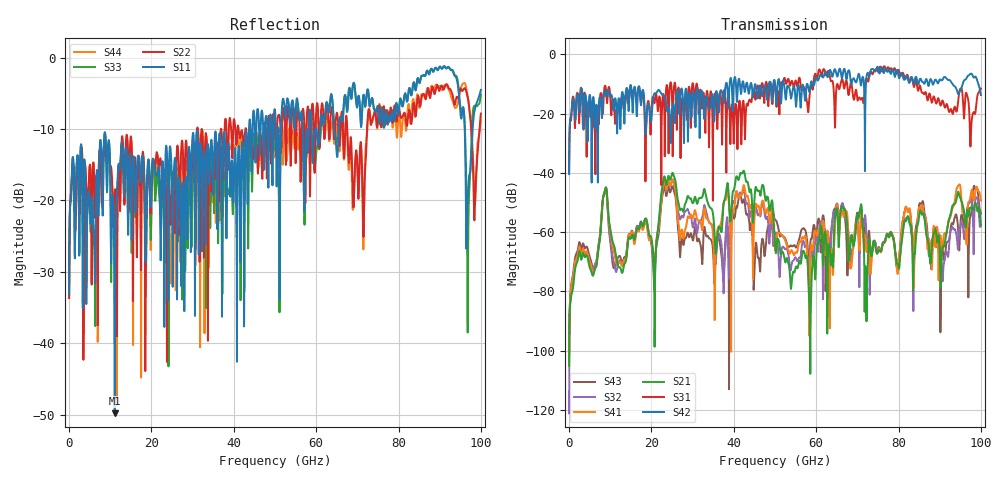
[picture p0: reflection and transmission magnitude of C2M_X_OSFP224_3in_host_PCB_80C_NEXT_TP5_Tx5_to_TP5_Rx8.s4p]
# GHz S RI R 45
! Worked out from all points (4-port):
!   4000 points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, 25 MHz to 100 GHz, reference 45 ohm
!   strongest paths, dB at 25 MHz, 25.02 GHz, 50.02 GHz, 75.03 GHz, 100 GHz:
!     S42: -40.4, -19.1, -9.6, -4.4, -13.7
!     S31: -39.7, -15.6, -10.6, -5.9, -11.5
!     S21: -105.1, -40.2, -64.0, -66.5, -57.9
!     S41: -104.1, -42.4, -65.8, -66.5, -49.3
!     S32: -121.2, -42.3, -60.4, -66.3, -56.5
!     S43: -101.5, -44.6, -55.8, -65.8, -53.7
!   lowest |S11| = -49.8 dB at 11.1 GHz (marker M1), VSWR 1.01, Z = 44.9 + j0.285 ohm
!   |S11| at or under -10 dB: start of sweep to 43.7 GHz; 56.74 GHz to 58.18 GHz (1.445 GHz wide, 2.51 % of centre); 96.08 GHz to 98 GHz (1.925 GHz wide, 1.98 % of centre) (the widest 3 of 14)
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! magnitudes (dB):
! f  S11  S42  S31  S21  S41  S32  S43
! 25 MHz  -33.1  -40.4  -39.7  -105.1  -104.1  -121.2  -101.5
! 8.7 GHz  -10.4  -12.7  -10.6  -46.1  -46.2  -46.4  -46.4
! 11.1 GHz  -49.8  -15.6  -21.6  -65.4  -67.6  -71.6  -72.1
! 25.1 GHz  -24.5  -17.9  -21.0  -40.0  -42.3  -42.2  -44.5
! 58.52 GHz  -7.3  -11.9  -12.1  -94.9  -71.2  -71.0  -65.1
! 66.47 GHz  -8.3  -6.6  -8.9  -51.5  -53.4  -50.4  -50.7
! 100 GHz  -4.5  -13.7  -11.5  -57.9  -49.3  -56.5  -53.7
